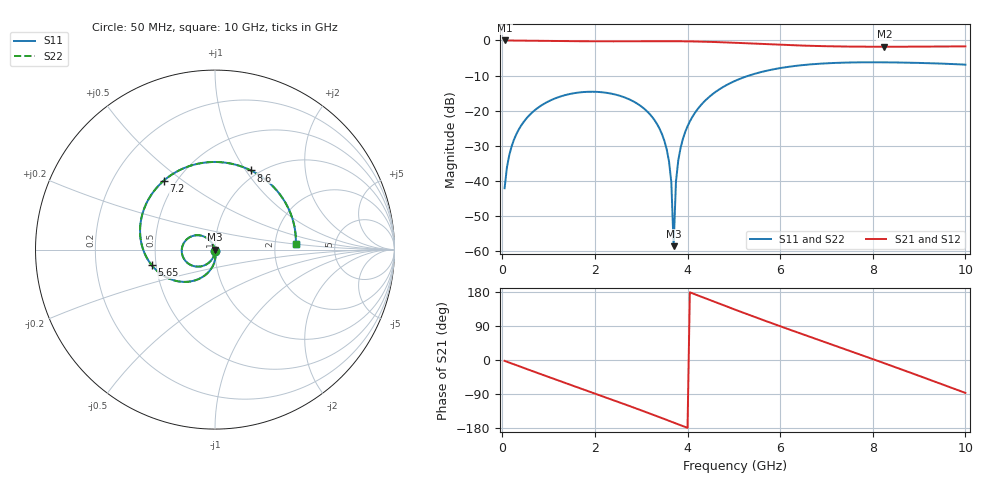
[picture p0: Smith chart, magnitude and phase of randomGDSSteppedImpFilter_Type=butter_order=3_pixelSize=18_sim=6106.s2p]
! freq	dB(S11)	phase(S11)	dB(S12)	phase(S12)
!  dB(S21)	phase(S21)	dB(S22)	phase(S22)
!S-par simulation data
#  GHz  S  DB  R 50
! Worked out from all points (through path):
!   200 points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, 50 MHz to 10 GHz, reference 50 ohm
!   highest |S21| = 0.00 dB at 50 MHz (marker M1); lowest = -1.8 dB at 8.25 GHz (marker M2)
!   group delay of S21, straight-line fit = 124 ps
!   lowest |S11| = -58.7 dB at 3.7 GHz (marker M3), VSWR 1.00, Z = 49.9 + j0.00914 ohm
!   |S11| at or under -10 dB: start of sweep to 5.33 GHz
!   |S22| runs from -61.8 to -6.2 dB; largest |S21 - S12| = 0
!   S11 on the Smith chart (normalised r, x): 50 MHz: 1.00, -0.02; 5.65 GHz: 0.47, -0.10; 7.2 GHz: 0.43, +0.43; 8.6 GHz: 0.92, +1.06; 10 GHz: 2.63, +0.21
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0.05  -42.14 -91.3  -0.00 -2.3  -0.00 -2.3  -42.14 -91.3
0.2  -30.27 -99.1  -0.02 -9.1  -0.02 -9.1  -30.27 -99.1
0.5  -22.58 -113.1  -0.05 -22.5  -0.05 -22.5  -22.58 -113.1
1.05  -17.03 -137.7  -0.14 -47.0  -0.14 -47.0  -17.03 -137.7
1.75  -14.72 -168.4  -0.24 -77.6  -0.24 -77.6  -14.72 -168.5
2.75  -16.85 147.7  -0.23 -121.6  -0.23 -121.6  -16.85 147.6
3.4  -25.28 118.8  -0.20 -151.1  -0.20 -151.1  -25.28 118.3
3.55  -31.04 112.6  -0.21 -158.0  -0.21 -158.0  -31.03 111.6
3.65  -40.41 111.3  -0.21 -162.7  -0.21 -162.7  -40.41 108.0
3.7  -58.67 175.5  -0.22 -165.0  -0.22 -165.0  -61.78 146.3
3.75  -40.26 -82.8  -0.22 -167.4  -0.22 -167.4  -40.31 -79.6
3.85  -30.63 -84.4  -0.23 -172.0  -0.23 -172.0  -30.64 -83.3
3.95  -26.10 -88.5  -0.25 -176.7  -0.25 -176.7  -26.10 -87.8
4.35  -17.57 -106.6  -0.36 164.4  -0.36 164.4  -17.57 -106.4
5.05  -11.39 -138.9  -0.68 131.8  -0.68 131.8  -11.39 -138.8
5.65  -8.81 -166.0  -1.03 104.6  -1.03 104.6  -8.82 -165.9
6.7  -6.78 148.2  -1.55 58.7  -1.55 58.7  -6.78 148.3
7.2  -6.40 126.7  -1.70 37.1  -1.70 37.1  -6.40 126.7
8.25  -6.24 81.0  -1.79 -8.5  -1.79 -8.5  -6.24 81.0
8.35  -6.25 76.7  -1.79 -12.9  -1.79 -12.9  -6.25 76.7
8.6  -6.30 65.7  -1.79 -24.0  -1.79 -24.0  -6.30 65.7
10  -6.91 4.1  -1.69 -86.9  -1.69 -86.9  -6.91 4.0
